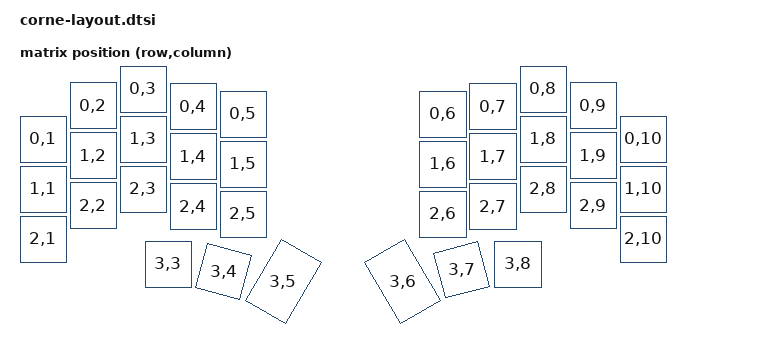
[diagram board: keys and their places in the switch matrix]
// clang-format off
#include <dt-bindings/zmk/matrix_transform.h>
#include <physical_layouts.dtsi>

/
{
    five_column_transform: keymap_transform_0 {
        compatible = "zmk,matrix-transform";
        columns = <10>;
        rows = <4>;
        map = <
            RC(0,1) RC(0,2) RC(0,3) RC(0,4) RC(0,5) RC(0,6) RC(0,7) RC(0,8) RC(0,9) RC(0,10)
            RC(1,1) RC(1,2) RC(1,3) RC(1,4) RC(1,5) RC(1,6) RC(1,7) RC(1,8) RC(1,9) RC(1,10)
            RC(2,1) RC(2,2) RC(2,3) RC(2,4) RC(2,5) RC(2,6) RC(2,7) RC(2,8) RC(2,9) RC(2,10)
                                RC(3,3) RC(3,4) RC(3,5) RC(3,6) RC(3,7) RC(3,8)
        >;
    };

    foostan_corne_5col_layout: foostan_corne_5col_layout {
        compatible = "zmk,physical-layout";
        display-name = "5 Column";
        matrix-transform = <&five_column_transform>;

        keys = <&key_physical_attrs 100 100    0 100    0     0     0>
             , <&key_physical_attrs 100 100  100  33    0     0     0>
             , <&key_physical_attrs 100 100  200   0    0     0     0>
             , <&key_physical_attrs 100 100  300  35    0     0     0>
             , <&key_physical_attrs 100 100  400  50    0     0     0>
             , <&key_physical_attrs 100 100  800  50    0     0     0>
             , <&key_physical_attrs 100 100  900  35    0     0     0>
             , <&key_physical_attrs 100 100 1000   0    0     0     0>
             , <&key_physical_attrs 100 100 1100  33    0     0     0>
             , <&key_physical_attrs 100 100 1200 100    0     0     0>
             , <&key_physical_attrs 100 100    0 200    0     0     0>
             , <&key_physical_attrs 100 100  100 133    0     0     0>
             , <&key_physical_attrs 100 100  200 100    0     0     0>
             , <&key_physical_attrs 100 100  300 135    0     0     0>
             , <&key_physical_attrs 100 100  400 150    0     0     0>
             , <&key_physical_attrs 100 100  800 150    0     0     0>
             , <&key_physical_attrs 100 100  900 135    0     0     0>
             , <&key_physical_attrs 100 100 1000 100    0     0     0>
             , <&key_physical_attrs 100 100 1100 133    0     0     0>
             , <&key_physical_attrs 100 100 1200 200    0     0     0>
             , <&key_physical_attrs 100 100    0 300    0     0     0>
             , <&key_physical_attrs 100 100  100 233    0     0     0>
             , <&key_physical_attrs 100 100  200 200    0     0     0>
             , <&key_physical_attrs 100 100  300 235    0     0     0>
             , <&key_physical_attrs 100 100  400 250    0     0     0>
             , <&key_physical_attrs 100 100  800 250    0     0     0>
             , <&key_physical_attrs 100 100  900 235    0     0     0>
             , <&key_physical_attrs 100 100 1000 200    0     0     0>
             , <&key_physical_attrs 100 100 1100 233    0     0     0>
             , <&key_physical_attrs 100 100 1200 300    0     0     0>
             , <&key_physical_attrs 100 100  250 350    0     0     0>
             , <&key_physical_attrs 100 100  350 350 1500   350   450>
             , <&key_physical_attrs 100 150  450 325 3000   450   475>
             , <&key_physical_attrs 100 150  750 325 (-3000) 850   475>
             , <&key_physical_attrs 100 100  875 350 (-1500) 950   550>
             , <&key_physical_attrs 100 100  950 350    0     0     0>
             ;
    };
};
// clang-format on
